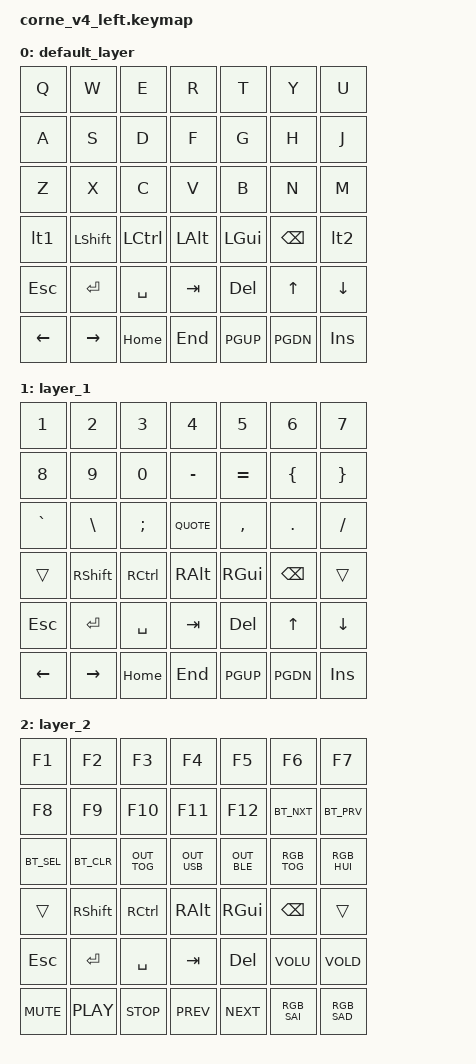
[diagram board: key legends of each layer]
/*
 * Copyright (c) 2024 The ZMK Contributors
 *
 * SPDX-License-Identifier: MIT
 */

#include <behaviors.dtsi>
#include <dt-bindings/zmk/keys.h>
#include <dt-bindings/zmk/bt.h>
#include <dt-bindings/zmk/rgb.h>
#include <dt-bindings/zmk/ext_power.h>

/ {
    behaviors {
        // Поведения для слоев
        lt1: layer_tap {
            quick-tap-ms = <150>;
            flavor = "balanced";
            tap-ms = <200>;
            bindings = <&mo 1>, <&kp SPACE>;
        };
        
        lt2: layer_tap {
            quick-tap-ms = <150>;
            flavor = "balanced";
            tap-ms = <200>;
            bindings = <&mo 2>, <&kp TAB>;
        };
    };

    keymap {
        compatible = "zmk,keymap";

        // Базовый слой (QWERTY)
        default_layer {
            bindings = <
                // Row 0 - Top row
                &kp Q         &kp W         &kp E         &kp R         &kp T         &kp Y         &kp U
                // Row 1 - Home row
                &kp A         &kp S         &kp D         &kp F         &kp G         &kp H         &kp J
                // Row 2 - Bottom row
                &kp Z         &kp X         &kp C         &kp V         &kp B         &kp N         &kp M
                // Row 3 - Thumb keys
                &lt1          &kp LSHFT     &kp LCTRL     &kp LALT      &kp LGUI      &kp BKSP       &lt2
                // Row 4 - Bottom thumb keys
                &kp ESC       &kp ENTER     &kp SPACE     &kp TAB       &kp DEL       &kp UP        &kp DOWN
                // Row 5 - Side keys
                &kp LEFT      &kp RIGHT     &kp HOME      &kp END       &kp PGUP      &kp PGDN       &kp INS
            >;
        };

        // Слой 1 - Numbers and Symbols
        layer_1 {
            bindings = <
                // Row 0
                &kp N1        &kp N2        &kp N3        &kp N4        &kp N5        &kp N6        &kp N7
                // Row 1
                &kp N8        &kp N9        &kp N0        &kp MINUS     &kp EQUAL     &kp LBRC      &kp RBRC
                // Row 2
                &kp GRAVE     &kp BSLH      &kp SEMI      &kp QUOTE     &kp COMMA     &kp DOT       &kp FSLH
                // Row 3
                &trans        &kp RSHFT     &kp RCTRL      &kp RALT      &kp RGUI      &kp BKSP      &trans
                // Row 4
                &kp ESC       &kp ENTER     &kp SPACE     &kp TAB       &kp DEL       &kp UP        &kp DOWN
                // Row 5
                &kp LEFT      &kp RIGHT     &kp HOME      &kp END       &kp PGUP      &kp PGDN      &kp INS
            >;
        };

        // Слой 2 - Function Keys and Media
        layer_2 {
            bindings = <
                // Row 0
                &kp F1        &kp F2        &kp F3        &kp F4        &kp F5        &kp F6        &kp F7
                // Row 1
                &kp F8        &kp F9        &kp F10       &kp F11       &kp F12       &kp BT_NXT    &kp BT_PRV
                // Row 2
                &kp BT_SEL    &kp BT_CLR    &kp OUT_TOG   &kp OUT_USB   &kp OUT_BLE   &kp RGB_TOG   &kp RGB_HUI
                // Row 3
                &trans        &kp RSHFT     &kp RCTRL      &kp RALT      &kp RGUI      &kp BKSP      &trans
                // Row 4
                &kp ESC       &kp ENTER     &kp SPACE     &kp TAB       &kp DEL       &kp VOLU      &kp VOLD
                // Row 5
                &kp MUTE      &kp PLAY      &kp STOP      &kp PREV      &kp NEXT      &kp RGB_SAI   &kp RGB_SAD
            >;
        };
    };
};
